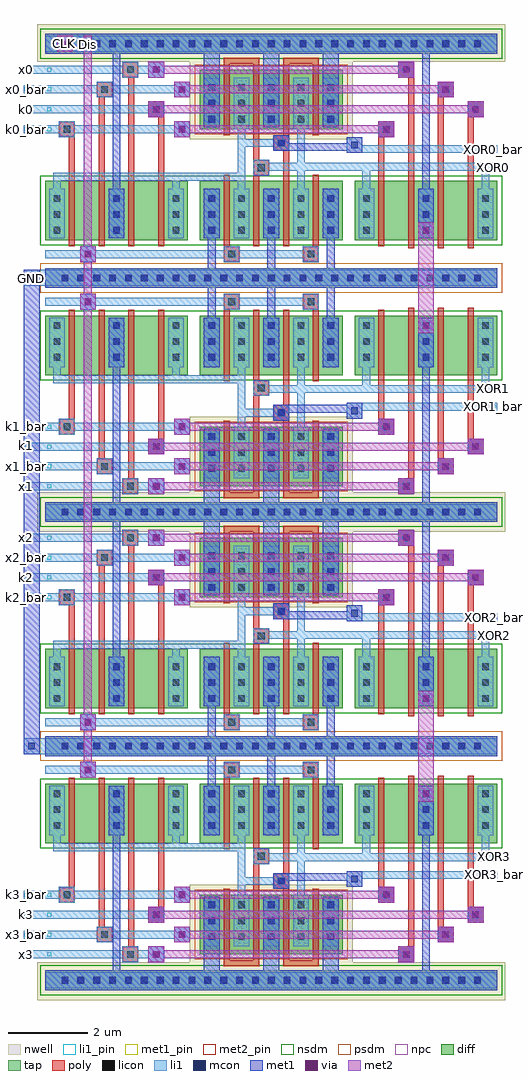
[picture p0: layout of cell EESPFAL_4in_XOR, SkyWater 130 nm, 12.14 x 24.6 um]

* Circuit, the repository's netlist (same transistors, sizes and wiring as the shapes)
* NGSPICE file created from EESPFAL_4in_XOR.ext - technology: sky130A

.subckt EESPFAL_XOR_v3 OUT A A_bar B B_bar Dis OUT_bar GND CLK
X0 CLK OUT_bar OUT CLK sky130_fd_pr__pfet_01v8 ad=2.7e+12p pd=1.26e+07u as=9e+11p ps=4.2e+06u w=1.5e+06u l=150000u M=2
X1 OUT_bar B a_n690_n412# GND sky130_fd_pr__nfet_01v8 ad=2.7e+12p pd=1.26e+07u as=9e+11p ps=4.2e+06u w=1.5e+06u l=150000u
X2 a_570_n412# B_bar OUT GND sky130_fd_pr__nfet_01v8 ad=9e+11p pd=4.2e+06u as=2.7e+12p ps=1.26e+07u w=1.5e+06u l=150000u
X3 a_n690_n412# A CLK GND sky130_fd_pr__nfet_01v8 ad=0p pd=0u as=7.5e+12p ps=3.22e+07u w=1.5e+06u l=150000u
X4 OUT_bar OUT CLK CLK sky130_fd_pr__pfet_01v8 ad=9e+11p pd=4.2e+06u as=0p ps=0u w=1.5e+06u l=150000u M=2
X5 CLK A a_570_n412# GND sky130_fd_pr__nfet_01v8 ad=0p pd=0u as=0p ps=0u w=1.5e+06u l=150000u
X6 CLK A_bar a_n990_n412# GND sky130_fd_pr__nfet_01v8 ad=0p pd=0u as=9e+11p ps=4.2e+06u w=1.5e+06u l=150000u
X7 OUT OUT_bar GND GND sky130_fd_pr__nfet_01v8 ad=0p pd=0u as=2.7e+12p ps=1.26e+07u w=1.5e+06u l=150000u
X8 a_870_n412# A_bar CLK GND sky130_fd_pr__nfet_01v8 ad=9e+11p pd=4.2e+06u as=0p ps=0u w=1.5e+06u l=150000u
X9 a_n990_n412# B_bar OUT_bar GND sky130_fd_pr__nfet_01v8 ad=0p pd=0u as=0p ps=0u w=1.5e+06u l=150000u
X10 GND OUT OUT_bar GND sky130_fd_pr__nfet_01v8 ad=0p pd=0u as=0p ps=0u w=1.5e+06u l=150000u
X11 OUT B a_870_n412# GND sky130_fd_pr__nfet_01v8 ad=0p pd=0u as=0p ps=0u w=1.5e+06u l=150000u
X12 OUT_bar Dis GND GND sky130_fd_pr__nfet_01v8 ad=0p pd=0u as=0p ps=0u w=1.5e+06u l=150000u
X13 GND Dis OUT GND sky130_fd_pr__nfet_01v8 ad=0p pd=0u as=0p ps=0u w=1.5e+06u l=150000u
.ends

.subckt EESPFAL_4in_XOR x0 x0_bar k0 k0_bar x1 x1_bar k1 k1_bar x2 x2_bar k2 k2_bar
+ x3 x3_bar k3 k3_bar XOR0_bar XOR0 XOR1_bar XOR1 XOR2_bar XOR2 XOR3_bar XOR3 GND
+ CLK Dis
XEESPFAL_XOR_v3_0 XOR3 x3 x3_bar k3 k3_bar Dis XOR3_bar GND CLK EESPFAL_XOR_v3
XEESPFAL_XOR_v3_1 XOR2 x2 x2_bar k2 k2_bar Dis XOR2_bar GND CLK EESPFAL_XOR_v3
XEESPFAL_XOR_v3_2 XOR1 x1 x1_bar k1 k1_bar Dis XOR1_bar GND CLK EESPFAL_XOR_v3
XEESPFAL_XOR_v3_3 XOR0 x0 x0_bar k0 k0_bar Dis XOR0_bar GND CLK EESPFAL_XOR_v3
.ends

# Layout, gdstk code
import gdstk
lib = gdstk.Library(unit=1e-6, precision=1e-09)
def R(c, l, rs):  # rectangles x0, y0, x1, y1
    for r in rs: c.add(gdstk.rectangle(r[:2], r[2:], *l))
def A(c, l, x, y, w, h, nx, ny, dx, dy):  # array of equal rectangles
    R(c, l, [(x+i*dx, y+j*dy, x+i*dx+w, y+j*dy+h) for i in range(nx) for j in range(ny)])
nwell = (64, 20)
diff = (65, 20)
tap = (65, 44)
poly = (66, 20)
licon = (66, 44)
li1_pin = (67, 16)
li1 = (67, 20)
mcon = (67, 44)
met1_pin = (68, 16)
met1 = (68, 20)
via = (68, 44)
met2_pin = (69, 16)
met2 = (69, 20)
nsdm = (93, 44)
psdm = (94, 20)
npc = (95, 20)

eespfal_xor_v3 = lib.new_cell('EESPFAL_XOR_v3')
R(eespfal_xor_v3, nwell, [(-2.05,0.488,2.05,2.438), (-5.9,2.438,5.9,3.388)])
A(eespfal_xor_v3, diff, -5.7, -2.062, 3.6, 1.5, 3, 1, 3.9, 0)
R(eespfal_xor_v3, diff, [(-1.8,0.738,1.8,2.238)])
R(eespfal_xor_v3, tap, [(-5.7,-3.262,5.7,-2.762), (-5.7,2.638,5.7,3.138)])
R(eespfal_xor_v3, poly, [(-1.2,-2.612,-0.8,-2.212), (0.8,-2.612,1.2,-2.212), (3.45,-2.262,3.6,2.038), (4.2,-2.262,4.35,1.538), (4.95,-2.262,5.1,1.038), (-5.1,-2.212,-4.95,0.538), (-4.35,-2.212,-4.2,1.538), (-3.6,-2.212,-3.45,2.038), (-2.85,-2.212,-2.7,1.038), (-1.2,-2.212,-1.05,-0.412), (-0.45,-2.212,-0.3,-0.412), (0.3,-2.212,0.45,0.188), (1.05,-2.212,1.2,-0.412), (2.7,-2.212,2.85,0.538), (-0.45,-0.437,-0.05,-0.037), (-0.45,-0.037,-0.3,2.388), (0.05,0.188,0.45,0.588), (-5.35,0.538,-4.95,0.938), (2.7,0.538,3.1,0.938), (-1.2,0.588,-1.05,2.388), (0.3,0.588,0.45,2.388), (1.05,0.588,1.2,2.388), (-3.1,1.038,-2.7,1.438), (4.95,1.038,5.35,1.438), (-4.4,1.538,-4,1.938), (4.2,1.538,4.6,1.938), (-3.75,2.038,-3.35,2.438), (3.2,2.038,3.6,2.438), (-1.2,2.388,-0.3,2.538), (0.3,2.388,1.2,2.538)])
A(eespfal_xor_v3, licon, -5.285, -3.097, 0.17, 0.17, 27, 2, 0.4, 5.9)
A(eespfal_xor_v3, licon, -5.485, -1.897, 0.17, 0.17, 3, 3, 1.5, 0.4)
A(eespfal_xor_v3, licon, -1.585, -1.897, 0.17, 0.17, 5, 3, 0.75, 0.4)
A(eespfal_xor_v3, licon, 2.315, -1.897, 0.17, 0.17, 3, 3, 1.5, 0.4)
A(eespfal_xor_v3, licon, -1.585, 0.903, 0.17, 0.17, 5, 3, 0.75, 0.4)
R(eespfal_xor_v3, licon, [(-1.085,-2.497,-0.915,-2.327), (0.915,-2.497,1.085,-2.327), (-0.335,-0.322,-0.165,-0.152), (0.165,0.303,0.335,0.473), (-5.235,0.653,-5.065,0.823), (2.815,0.653,2.985,0.823), (-2.985,1.153,-2.815,1.323), (5.065,1.153,5.235,1.323), (-4.285,1.653,-4.115,1.823), (4.315,1.653,4.485,1.823), (-3.635,2.153,-3.465,2.323), (3.315,2.153,3.485,2.323)])
A(eespfal_xor_v3, li1_pin, -5.65, 0.688, 0.1, 0.1, 1, 4, 0, 0.5)
R(eespfal_xor_v3, li1_pin, [(-1.1,-2.512,-0.9,-2.312), (-0.35,-0.337,-0.15,-0.137)])
A(eespfal_xor_v3, li1, -5.6, -2.012, 0.4, 1.25, 3, 1, 1.5, 0)
A(eespfal_xor_v3, li1, -1.7, -2.012, 0.4, 1.25, 5, 1, 0.75, 0)
A(eespfal_xor_v3, li1, 2.2, -2.012, 0.4, 1.25, 3, 1, 1.5, 0)
A(eespfal_xor_v3, li1, -1.7, 0.788, 0.4, 1.25, 3, 1, 1.5, 0)
R(eespfal_xor_v3, li1, [(-5.7,-3.212,5.7,-2.812), (-1.2,-2.612,-0.8,-2.512), (0.8,-2.612,1.2,-2.512), (-5.7,-2.512,1.2,-2.312), (-1.2,-2.312,-0.8,-2.212), (0.8,-2.312,1.2,-2.212), (-5.5,-0.762,-5.3,-0.562), (-2.5,-0.762,-2.3,-0.562), (2.3,-0.762,2.5,-0.312), (5.3,-0.762,5.5,-0.312), (-5.5,-0.562,-0.65,-0.362), (0.65,-0.562,0.85,-0.312), (-0.45,-0.437,-0.05,-0.037), (-0.85,-0.362,-0.65,0.288), (-0.05,-0.312,5.7,-0.112), (0.65,-0.112,0.85,0.738), (1.9,0.138,5.7,0.338), (0.05,0.188,0.45,0.288), (-0.85,0.288,0.45,0.488), (1.9,0.338,2.3,0.538), (-0.85,0.488,-0.65,0.738), (0.05,0.488,0.45,0.588), (-5.35,0.538,-4.95,0.638), (-2.45,0.538,-2.05,0.638), (2.7,0.538,3.1,0.938), (-5.7,0.638,-2.05,0.838), (-0.95,0.738,-0.55,2.038), (0.55,0.738,0.95,2.038), (-5.35,0.838,-4.95,0.938), (-2.45,0.838,-2.05,0.938), (-3.1,1.038,-2.7,1.138), (4.95,1.038,5.35,1.438), (-5.7,1.138,-2.7,1.338), (-3.1,1.338,-2.7,1.438), (-4.4,1.538,-4,1.638), (-2.45,1.538,-2.05,1.638), (4.2,1.538,4.6,1.938), (-5.7,1.638,-2.05,1.838), (-4.4,1.838,-4,1.938), (-2.45,1.838,-2.05,1.938), (-3.75,2.038,-3.35,2.138), (-3.1,2.038,-2.7,2.138), (3.2,2.038,3.6,2.438), (-5.7,2.138,-2.7,2.338), (-3.75,2.338,-3.35,2.438), (-3.1,2.338,-2.7,2.438), (-5.7,2.688,5.7,3.088)])
A(eespfal_xor_v3, mcon, -5.285, -3.097, 0.17, 0.17, 27, 2, 0.4, 5.9)
A(eespfal_xor_v3, mcon, -3.985, -1.897, 0.17, 0.17, 1, 3, 0, 0.4)
A(eespfal_xor_v3, mcon, -1.585, -1.897, 0.17, 0.17, 3, 3, 1.5, 0.4)
A(eespfal_xor_v3, mcon, 3.815, -1.897, 0.17, 0.17, 1, 3, 0, 0.4)
A(eespfal_xor_v3, mcon, -1.585, 0.903, 0.17, 0.17, 3, 3, 1.5, 0.4)
R(eespfal_xor_v3, mcon, [(2.015,0.253,2.185,0.423), (0.165,0.303,0.335,0.473), (-2.335,0.653,-2.165,0.823), (2.815,0.653,2.985,0.823), (-2.985,1.153,-2.815,1.323), (5.065,1.153,5.235,1.323), (-2.335,1.653,-2.165,1.823), (4.315,1.653,4.485,1.823), (-2.985,2.153,-2.815,2.323), (3.315,2.153,3.485,2.323)])
R(eespfal_xor_v3, met1_pin, [(-0.1,-3.112,0.1,-2.912), (0.15,0.288,0.35,0.488), (-0.1,2.788,0.1,2.988)])
A(eespfal_xor_v3, met1, -1.6, -2.762, 0.2, 0.75, 3, 1, 1.5, 0)
A(eespfal_xor_v3, met1, -1.7, -2.012, 0.4, 1.25, 3, 1, 1.5, 0)
A(eespfal_xor_v3, met1, -1.7, 0.788, 0.4, 1.85, 3, 1, 1.5, 0)
R(eespfal_xor_v3, met1, [(-5.7,-3.262,5.7,-2.762), (-4.1,-2.012,-3.7,-0.762), (3.7,-2.012,4.1,-0.762), (-4,-0.762,-3.8,2.638), (3.8,-0.762,4,2.638), (1.9,0.138,2.3,0.188), (0.05,0.188,2.3,0.388), (0.05,0.388,0.45,0.588), (1.9,0.388,2.3,0.538), (-2.45,0.538,-2.05,0.938), (2.7,0.538,3.1,0.938), (-3.1,1.038,-2.7,1.438), (4.95,1.038,5.35,1.438), (-2.45,1.538,-2.05,1.938), (4.2,1.538,4.6,1.938), (-3.1,2.038,-2.7,2.438), (3.2,2.038,3.6,2.438), (-5.7,2.638,5.7,3.138)])
R(eespfal_xor_v3, via, [(-2.325,0.663,-2.175,0.813), (2.825,0.663,2.975,0.813), (-2.975,1.163,-2.825,1.313), (5.075,1.163,5.225,1.313), (-2.325,1.663,-2.175,1.813), (4.325,1.663,4.475,1.813), (-2.975,2.163,-2.825,2.313), (3.325,2.163,3.475,2.313)])
R(eespfal_xor_v3, met2, [(-2.45,0.538,-2.05,0.638), (2.7,0.538,3.1,0.638), (-2.45,0.638,3.1,0.838), (-2.45,0.838,-2.05,0.938), (2.7,0.838,3.1,0.938), (-3.1,1.038,-2.7,1.138), (4.95,1.038,5.35,1.138), (-3.1,1.138,5.35,1.338), (-3.1,1.338,-2.7,1.438), (4.95,1.338,5.35,1.438), (-2.45,1.538,-2.05,1.638), (4.2,1.538,4.6,1.638), (-2.45,1.638,4.6,1.838), (-2.45,1.838,-2.05,1.938), (4.2,1.838,4.6,1.938), (-3.1,2.038,-2.7,2.138), (3.2,2.038,3.6,2.138), (-3.1,2.138,3.6,2.338), (-3.1,2.338,-2.7,2.438), (3.2,2.338,3.6,2.438)])
R(eespfal_xor_v3, nsdm, [(-5.825,-2.187,5.825,-0.437), (-5.825,2.513,5.825,3.263)])
R(eespfal_xor_v3, psdm, [(-5.825,-3.387,5.825,-2.637), (-1.925,0.613,1.925,2.363)])
R(eespfal_xor_v3, npc, [(-1.185,-2.597,-0.815,-2.227), (0.815,-2.597,1.185,-2.227), (-0.435,-0.422,-0.065,-0.052), (0.065,0.203,0.435,0.573), (-5.335,0.553,-4.965,0.923), (2.715,0.553,3.085,0.923), (-3.085,1.053,-2.715,1.423), (4.965,1.053,5.335,1.423), (-4.385,1.553,-4.015,1.653), (4.215,1.553,4.585,1.923), (-4.385,1.653,-4.015,1.923), (-3.735,2.053,-3.365,2.323), (3.215,2.053,3.585,2.423), (-3.735,2.323,-3.365,2.423)])
eespfal_xor_v3.add(gdstk.FlexPath([(-0.75,-0.762),(-0.75,-0.562)], 0.2, ends="flush", simple_path=True, layer=67, datatype=20))  # li1
eespfal_xor_v3.add(gdstk.FlexPath([(0.75,-0.762),(0.75,-0.562)], 0.2, ends="flush", simple_path=True, layer=67, datatype=20))  # li1
eespfal_xor_v3.add(gdstk.Label('OUT', (-0.25,-0.237), layer=67, texttype=16))
eespfal_xor_v3.add(gdstk.Label('A', (-5.6,2.238), layer=67, texttype=16))
eespfal_xor_v3.add(gdstk.Label('A_bar', (-5.6,1.738), layer=67, texttype=16))
eespfal_xor_v3.add(gdstk.Label('B', (-5.6,1.238), layer=67, texttype=16))
eespfal_xor_v3.add(gdstk.Label('B_bar', (-5.6,0.738), layer=67, texttype=16))
eespfal_xor_v3.add(gdstk.Label('Dis', (-1,-2.412), layer=67, texttype=16))
eespfal_xor_v3.add(gdstk.Label('OUT_bar', (0.25,0.388), layer=68, texttype=16))
eespfal_xor_v3.add(gdstk.Label('GND!', (0,-3.012), layer=68, texttype=16))
eespfal_xor_v3.add(gdstk.Label('CLK', (0,2.888), layer=68, texttype=16))

li_via_m1 = lib.new_cell('Li_via_M1')
R(li_via_m1, li1, [(-0.1,-0.1,0.3,0.3)])
R(li_via_m1, mcon, [(0.015,0.015,0.185,0.185)])
R(li_via_m1, met1, [(-0.1,-0.1,0.3,0.3)])

m1_via_m2 = lib.new_cell('M1_via_M2')
R(m1_via_m2, met1, [(-0.2,-0.19,0.2,0.21)])
R(m1_via_m2, via, [(-0.075,-0.065,0.075,0.085)])
R(m1_via_m2, met2, [(-0.2,-0.19,0.2,0.21)])

li_via_m2 = lib.new_cell('Li_via_M2')
R(li_via_m2, li1, [(-0.1,-0.1,0.3,0.3)])
R(li_via_m2, mcon, [(0.015,0.015,0.185,0.185)])
R(li_via_m2, met1, [(-0.1,-0.1,0.3,0.3)])
R(li_via_m2, via, [(0.025,0.025,0.175,0.175)])
R(li_via_m2, met2, [(-0.1,-0.1,0.3,0.3)])

eespfal_4in_xor = lib.new_cell('EESPFAL_4in_XOR')
R(eespfal_4in_xor, li1_pin, [(-6.96,-16,-6.86,-15.9), (-6.96,-15.505,-6.86,-15.405), (-6.96,-15,-6.86,-14.9), (-6.96,-14.505,-6.86,-14.405), (4.82,-14,4.92,-13.9), (4.82,-13.55,4.92,-13.45), (4.815,-7.95,4.915,-7.85), (4.815,-7.5,4.915,-7.4), (-6.965,-6.99,-6.865,-6.89), (-6.965,-6.495,-6.865,-6.395), (-6.965,-5.99,-6.865,-5.89), (-6.965,-5.495,-6.865,-5.395), (-6.965,-4.19,-6.865,-4.09), (-6.965,-3.695,-6.865,-3.595), (-6.965,-3.19,-6.865,-3.09), (-6.965,-2.695,-6.865,-2.595), (4.805,-2.2,4.905,-2.1), (4.805,-1.75,4.905,-1.65), (4.8,3.85,4.9,3.95), (4.8,4.3,4.9,4.4), (-6.965,4.805,-6.865,4.905), (-6.965,5.3,-6.865,5.4), (-6.965,5.805,-6.865,5.905), (-6.965,6.3,-6.865,6.4)])
R(eespfal_4in_xor, met1_pin, [(-6.86,1.03,-6.72,1.165)])
R(eespfal_4in_xor, met2_pin, [(-5.445,6.92,-5.295,7.08), (-6.02,6.93,-5.88,7.07)])
eespfal_4in_xor.add(gdstk.FlexPath([(-6.45,1.1),(-6.59,1.1)], 0.4, ends="flush", simple_path=True, layer=67, datatype=20))  # li1
eespfal_4in_xor.add(gdstk.FlexPath([(-6.45,-10.7),(-6.59,-10.7)], 0.4, ends="flush", simple_path=True, layer=67, datatype=20))  # li1
eespfal_4in_xor.add(gdstk.FlexPath([(-6.45,6.35),(-6.99,6.35)], 0.2, ends="flush", simple_path=True, layer=67, datatype=20))  # li1
eespfal_4in_xor.add(gdstk.FlexPath([(-6.45,5.85),(-6.99,5.85)], 0.2, ends="flush", simple_path=True, layer=67, datatype=20))  # li1
eespfal_4in_xor.add(gdstk.FlexPath([(-6.45,5.35),(-6.99,5.35)], 0.2, ends="flush", simple_path=True, layer=67, datatype=20))  # li1
eespfal_4in_xor.add(gdstk.FlexPath([(-6.45,4.85),(-6.99,4.85)], 0.2, ends="flush", simple_path=True, layer=67, datatype=20))  # li1
eespfal_4in_xor.add(gdstk.FlexPath([(-6.45,-2.65),(-6.99,-2.65)], 0.2, ends="flush", simple_path=True, layer=67, datatype=20))  # li1
eespfal_4in_xor.add(gdstk.FlexPath([(-6.45,-3.15),(-6.99,-3.15)], 0.2, ends="flush", simple_path=True, layer=67, datatype=20))  # li1
eespfal_4in_xor.add(gdstk.FlexPath([(-6.45,-3.65),(-6.99,-3.65)], 0.2, ends="flush", simple_path=True, layer=67, datatype=20))  # li1
eespfal_4in_xor.add(gdstk.FlexPath([(-6.45,-4.15),(-6.99,-4.15)], 0.2, ends="flush", simple_path=True, layer=67, datatype=20))  # li1
eespfal_4in_xor.add(gdstk.FlexPath([(-6.45,-5.45),(-6.99,-5.45)], 0.2, ends="flush", simple_path=True, layer=67, datatype=20))  # li1
eespfal_4in_xor.add(gdstk.FlexPath([(-6.45,-5.95),(-6.99,-5.95)], 0.2, ends="flush", simple_path=True, layer=67, datatype=20))  # li1
eespfal_4in_xor.add(gdstk.FlexPath([(-6.45,-6.45),(-6.99,-6.45)], 0.2, ends="flush", simple_path=True, layer=67, datatype=20))  # li1
eespfal_4in_xor.add(gdstk.FlexPath([(-6.45,-6.95),(-6.99,-6.95)], 0.2, ends="flush", simple_path=True, layer=67, datatype=20))  # li1
eespfal_4in_xor.add(gdstk.FlexPath([(-6.45,-14.45),(-6.99,-14.45)], 0.2, ends="flush", simple_path=True, layer=67, datatype=20))  # li1
eespfal_4in_xor.add(gdstk.FlexPath([(-6.45,-14.95),(-6.99,-14.95)], 0.2, ends="flush", simple_path=True, layer=67, datatype=20))  # li1
eespfal_4in_xor.add(gdstk.FlexPath([(-6.45,-15.45),(-6.99,-15.45)], 0.2, ends="flush", simple_path=True, layer=67, datatype=20))  # li1
eespfal_4in_xor.add(gdstk.FlexPath([(-6.45,-15.95),(-6.99,-15.95)], 0.2, ends="flush", simple_path=True, layer=67, datatype=20))  # li1
eespfal_4in_xor.add(gdstk.FlexPath([(-6.79,0.9),(-6.79,-10.5),(-6.79,-10.5)], 0.4, ends="flush", simple_path=True, layer=68, datatype=20))  # met1
eespfal_4in_xor.add(gdstk.FlexPath([(3.15,2.1),(3.15,0.1)], 0.4, ends="flush", simple_path=True, layer=69, datatype=20))  # met2
eespfal_4in_xor.add(gdstk.FlexPath([(3.15,-9.7),(3.15,-11.7)], 0.4, ends="flush", simple_path=True, layer=69, datatype=20))  # met2
eespfal_4in_xor.add(gdstk.FlexPath([(-5.37,7.2),(-5.37,-11.15)], 0.2, ends="flush", simple_path=True, layer=69, datatype=20))  # met2
eespfal_4in_xor.add(gdstk.Reference(eespfal_xor_v3, (-0.75,4.112)))
eespfal_4in_xor.add(gdstk.Reference(eespfal_xor_v3, (-0.75,-1.912), x_reflection=True))
eespfal_4in_xor.add(gdstk.Reference(eespfal_xor_v3, (-0.75,-7.688)))
eespfal_4in_xor.add(gdstk.Reference(eespfal_xor_v3, (-0.75,-13.712), x_reflection=True))
eespfal_4in_xor.add(gdstk.Reference(li_via_m1, (-6.89,1)))
eespfal_4in_xor.add(gdstk.Reference(li_via_m1, (-6.89,-10.8)))
eespfal_4in_xor.add(gdstk.Reference(m1_via_m2, (3.15,-0.11)))
eespfal_4in_xor.add(gdstk.Reference(m1_via_m2, (3.15,2.29)))
eespfal_4in_xor.add(gdstk.Reference(m1_via_m2, (3.15,-9.51)))
eespfal_4in_xor.add(gdstk.Reference(m1_via_m2, (3.15,-11.91)))
eespfal_4in_xor.add(gdstk.Reference(m1_via_m2, (-5.95,6.99)))
eespfal_4in_xor.add(gdstk.Reference(li_via_m2, (-5.47,-11.4)))
eespfal_4in_xor.add(gdstk.Reference(li_via_m2, (-5.47,-10.2)))
eespfal_4in_xor.add(gdstk.Reference(li_via_m2, (-5.47,0.4)))
eespfal_4in_xor.add(gdstk.Reference(li_via_m2, (-5.47,1.6)))
eespfal_4in_xor.add(gdstk.Label('x0', (-6.91,6.345), layer=67, texttype=16))
eespfal_4in_xor.add(gdstk.Label('x0_bar', (-6.915,5.85), layer=67, texttype=16))
eespfal_4in_xor.add(gdstk.Label('k0', (-6.915,5.335), layer=67, texttype=16))
eespfal_4in_xor.add(gdstk.Label('k0_bar', (-6.915,4.845), layer=67, texttype=16))
eespfal_4in_xor.add(gdstk.Label('x1', (-6.91,-4.145), layer=67, texttype=16))
eespfal_4in_xor.add(gdstk.Label('x1_bar', (-6.915,-3.65), layer=67, texttype=16))
eespfal_4in_xor.add(gdstk.Label('k1', (-6.915,-3.135), layer=67, texttype=16))
eespfal_4in_xor.add(gdstk.Label('k1_bar', (-6.915,-2.645), layer=67, texttype=16))
eespfal_4in_xor.add(gdstk.Label('x2', (-6.915,-5.45), layer=67, texttype=16))
eespfal_4in_xor.add(gdstk.Label('x2_bar', (-6.92,-5.945), layer=67, texttype=16))
eespfal_4in_xor.add(gdstk.Label('k2', (-6.92,-6.46), layer=67, texttype=16))
eespfal_4in_xor.add(gdstk.Label('k2_bar', (-6.92,-6.95), layer=67, texttype=16))
eespfal_4in_xor.add(gdstk.Label('x3', (-6.91,-15.95), layer=67, texttype=16))
eespfal_4in_xor.add(gdstk.Label('x3_bar', (-6.915,-15.455), layer=67, texttype=16))
eespfal_4in_xor.add(gdstk.Label('k3', (-6.915,-14.94), layer=67, texttype=16))
eespfal_4in_xor.add(gdstk.Label('k3_bar', (-6.915,-14.45), layer=67, texttype=16))
eespfal_4in_xor.add(gdstk.Label('XOR0_bar', (4.85,4.345), layer=67, texttype=16))
eespfal_4in_xor.add(gdstk.Label('XOR0', (4.85,3.895), layer=67, texttype=16))
eespfal_4in_xor.add(gdstk.Label('XOR1_bar', (4.855,-2.145), layer=67, texttype=16))
eespfal_4in_xor.add(gdstk.Label('XOR1', (4.855,-1.695), layer=67, texttype=16))
eespfal_4in_xor.add(gdstk.Label('XOR2_bar', (4.865,-7.455), layer=67, texttype=16))
eespfal_4in_xor.add(gdstk.Label('XOR2', (4.865,-7.905), layer=67, texttype=16))
eespfal_4in_xor.add(gdstk.Label('XOR3_bar', (4.87,-13.945), layer=67, texttype=16))
eespfal_4in_xor.add(gdstk.Label('XOR3', (4.87,-13.495), layer=67, texttype=16))
eespfal_4in_xor.add(gdstk.Label('GND', (-6.79,1.09), layer=68, texttype=16))
eespfal_4in_xor.add(gdstk.Label('CLK', (-5.95,7), layer=69, texttype=16))
eespfal_4in_xor.add(gdstk.Label('Dis', (-5.375,6.995), layer=69, texttype=16))

lib.write_gds('EESPFAL_4in_XOR.gds')
